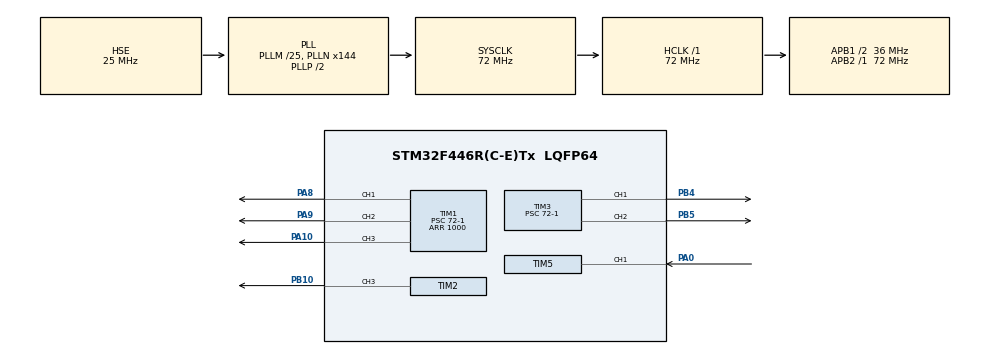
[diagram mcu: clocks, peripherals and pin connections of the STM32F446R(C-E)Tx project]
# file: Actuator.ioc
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Mcu.Family=STM32F4
Mcu.Name=STM32F446R(C-E)Tx
Mcu.Package=LQFP64
NVIC.PriorityGroup=NVIC_PRIORITYGROUP_4
NVIC.TIM3_IRQn=true\:0\:0\:false\:false\:true\:true\:true\:true
NVIC.TIM5_IRQn=true\:0\:0\:false\:false\:true\:true\:true\:true
PA0-WKUP.Signal=S_TIM5_CH1
PA10.Signal=S_TIM1_CH3
PA8.Signal=S_TIM1_CH1
PA9.Signal=S_TIM1_CH2
PB10.Signal=S_TIM2_CH3
PB4.Signal=S_TIM3_CH1
PB5.Signal=S_TIM3_CH2
PH0-OSC_IN.Mode=HSE-External-Oscillator
PH0-OSC_IN.Signal=RCC_OSC_IN
PH1-OSC_OUT.Mode=HSE-External-Oscillator
PH1-OSC_OUT.Signal=RCC_OSC_OUT
ProjectManager.HeapSize=0x200
ProjectManager.StackSize=0x400
ProjectManager.TargetToolchain=STM32CubeIDE
RCC.AHBFreq_Value=72000000
RCC.APB1CLKDivider=RCC_HCLK_DIV2
RCC.APB1Freq_Value=36000000
RCC.APB1TimFreq_Value=72000000
RCC.APB2Freq_Value=72000000
RCC.APB2TimFreq_Value=72000000
RCC.CortexFreq_Value=72000000
RCC.HCLKFreq_Value=72000000
RCC.PLLM=25
RCC.PLLN=144
RCC.PLLSourceVirtual=RCC_PLLSOURCE_HSE
RCC.SYSCLKFreq_VALUE=72000000
RCC.SYSCLKSource=RCC_SYSCLKSOURCE_PLLCLK
RCC.USBFreq_Value=72000000
RCC.VCOOutputFreq_Value=144000000
SH.S_TIM1_CH1.0=TIM1_CH1,PWM Generation1 CH1
SH.S_TIM1_CH2.0=TIM1_CH2,PWM Generation2 CH2
SH.S_TIM1_CH3.0=TIM1_CH3,PWM Generation3 CH3
SH.S_TIM2_CH3.0=TIM2_CH3,PWM Generation3 CH3
SH.S_TIM3_CH1.0=TIM3_CH1,PWM Generation1 CH1
SH.S_TIM3_CH2.0=TIM3_CH2,PWM Generation2 CH2
SH.S_TIM5_CH1.0=TIM5_CH1,PWM_Input_1
TIM1.Channel-PWM\ Generation1\ CH1=TIM_CHANNEL_1
TIM1.Channel-PWM\ Generation2\ CH2=TIM_CHANNEL_2
TIM1.Channel-PWM\ Generation3\ CH3=TIM_CHANNEL_3
TIM1.Period=1000
TIM1.Prescaler=72-1
TIM2.Channel-PWM\ Generation3\ CH3=TIM_CHANNEL_3
TIM2.Period=2000
TIM2.Prescaler=72-1
TIM3.Channel-PWM\ Generation1\ CH1=TIM_CHANNEL_1
TIM3.Channel-PWM\ Generation2\ CH2=TIM_CHANNEL_2
TIM3.Prescaler=72-1
VP_TIM1_VS_ClockSourceINT.Mode=Internal
VP_TIM2_VS_ClockSourceINT.Mode=Internal
VP_TIM3_VS_ClockSourceINT.Mode=Internal
VP_TIM5_VS_ClockSourceINT.Mode=Internal
board=custom

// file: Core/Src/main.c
/* USER CODE BEGIN Header */
/**
  ******************************************************************************
  * @file           : main.c
  * @brief          : Main program body
  ******************************************************************************
  * @attention
  *
  * Copyright (c) 2025 STMicroelectronics.
  * All rights reserved.
  *
  * This software is licensed under terms that can be found in the LICENSE file
  * in the root directory of this software component.
  * If no LICENSE file comes with this software, it is provided AS-IS.
  *
  ******************************************************************************
  */
/* USER CODE END Header */
#include "main.h"
#include "tim.h"
#include "gpio.h"

void SystemClock_Config(void);

/* USER CODE BEGIN 0 */
uint32_t frequency, act_pose;
uint32_t capture_value;
void HAL_TIM_IC_CaptureCallback(TIM_HandleTypeDef *htim5) {
	if(htim5 ->Channel == HAL_TIM_ACTIVE_CHANNEL_1) {
		capture_value = HAL_TIM_ReadCapturedValue(htim5, TIM_CHANNEL_1);
		if(capture_value) {
			frequency = SystemCoreClock / (capture_value);
			act_pose = 10000 * HAL_TIM_ReadCapturedValue(htim5, TIM_CHANNEL_2) / capture_value;
		}
	}
}

/* USER CODE END 0 */

int main(void)
{

  /* MCU Configuration--------------------------------------------------------*/

  /* Reset of all peripherals, Initializes the Flash interface and the Systick. */
  HAL_Init();

  /* Configure the system clock */
  SystemClock_Config();

  /* Initialize all configured peripherals */
  MX_GPIO_Init();
  MX_TIM1_Init();
  MX_TIM2_Init();
  MX_TIM3_Init();
  MX_TIM5_Init();
  /* USER CODE BEGIN 2 */
  TIM1->ARR = 1000;
  TIM2->ARR = 1000;
  TIM3->ARR = 1000;

//  PA_8 (D7) 1/1 - Actuator 1a polarity
  HAL_TIM_PWM_Start(&htim1, TIM_CHANNEL_1); // D7
//  PA_9 (D8) 1/2 - Actuator 1a on/off
  HAL_TIM_PWM_Start(&htim1, TIM_CHANNEL_2); // D8

//  PA_10 (D2) 1/3 - Cim

//  PB_4 (D5) 3/1 - Actuator 1b polarity
  HAL_TIM_PWM_Start(&htim3, TIM_CHANNEL_1);
//  PB_5 (D4) 3/2 - Actuator 1b on/off
  HAL_TIM_PWM_Start(&htim3, TIM_CHANNEL_2);
//
//  PB_8 (D15) 2/1 - Actuator 2 on/off
//  PB_9 (D14) 2/2 - Actuator 2 polarity
//  PB_10 (D6) 2/3 - Rev Reading
  // Pins
//  HAL_TIM_PWM_Start(&htim1, TIM_CHANNEL_3); // D6
//
//  HAL_TIM_PWM_Start(&htim2, TIM_CHANNEL_1); // D15  Actuator 2 Polarity 1
//  HAL_TIM_PWM_Start(&htim2, TIM_CHANNEL_2); // D14 Actuator 2 Polarity 2
//  HAL_TIM_PWM_Start(&htim2, TIM_CHANNEL_3); // D6 Actuator 2 Relay

  // Duty Cycle (Both pins as high: one polarity, both pins as low: opposite polarity)

  /* USER CODE END 2 */

  /* Infinite loop */
  while (1)
  {

    /* USER CODE BEGIN 3 */
	  //  PA_8 (D7) 1/1 - Actuator 1a polarity
	  __HAL_TIM_SET_COMPARE(&htim1, TIM_CHANNEL_1, 1000); // 100% HIGH // LOW turns relays on, HIGH turns relays off

	  //  PA_9 (D8) 1/2 - Actuator 1a on/off
	  __HAL_TIM_SET_COMPARE(&htim1, TIM_CHANNEL_2, 0);  // 0%% LOW

	  //  PB_4 (D5) 3/1 - Actuator 1b polarity
	  __HAL_TIM_SET_COMPARE(&htim3, TIM_CHANNEL_1, 1000);  // 0%% LOW

	  //  PB_5 (D4) 3/2 - Actuator 1b on/off
	  __HAL_TIM_SET_COMPARE(&htim3, TIM_CHANNEL_2, 0); // 100% HIGH

//	  __HAL_TIM_SET_COMPARE(&htim2, TIM_CHANNEL_2, 0); // 0%% LOW
//
//	  TIM2->CCR1 = 1000;
//	  TIM2->CCR2 = 1000;
//	  TIM2->CCR3 = 1000;
//
//	  __HAL_TIM_SET_COMPARE(&htim1, TIM_CHANNEL_3, 1000); // Relay ON
//	  __HAL_TIM_SET_COMPARE(&htim2, TIM_CHANNEL_3, 0); // Relay OFF

  }
  /* USER CODE END 3 */
}

void SystemClock_Config(void)
{
  RCC_OscInitTypeDef RCC_OscInitStruct = {0};
  RCC_ClkInitTypeDef RCC_ClkInitStruct = {0};

  /** Configure the main internal regulator output voltage
  */
  __HAL_RCC_PWR_CLK_ENABLE();
  __HAL_PWR_VOLTAGESCALING_CONFIG(PWR_REGULATOR_VOLTAGE_SCALE3);

  /** Initializes the RCC Oscillators according to the specified parameters
  * in the RCC_OscInitTypeDef structure.
  */
  RCC_OscInitStruct.OscillatorType = RCC_OSCILLATORTYPE_HSE;
  RCC_OscInitStruct.HSEState = RCC_HSE_ON;
  RCC_OscInitStruct.PLL.PLLState = RCC_PLL_ON;
  RCC_OscInitStruct.PLL.PLLSource = RCC_PLLSOURCE_HSE;
  RCC_OscInitStruct.PLL.PLLM = 25;
  RCC_OscInitStruct.PLL.PLLN = 144;
  RCC_OscInitStruct.PLL.PLLP = RCC_PLLP_DIV2;
  RCC_OscInitStruct.PLL.PLLQ = 2;
  RCC_OscInitStruct.PLL.PLLR = 2;
  if (HAL_RCC_OscConfig(&RCC_OscInitStruct) != HAL_OK)
  {
    Error_Handler();
  }

  /** Initializes the CPU, AHB and APB buses clocks
  */
  RCC_ClkInitStruct.ClockType = RCC_CLOCKTYPE_HCLK|RCC_CLOCKTYPE_SYSCLK
                              |RCC_CLOCKTYPE_PCLK1|RCC_CLOCKTYPE_PCLK2;
  RCC_ClkInitStruct.SYSCLKSource = RCC_SYSCLKSOURCE_PLLCLK;
  RCC_ClkInitStruct.AHBCLKDivider = RCC_SYSCLK_DIV1;
  RCC_ClkInitStruct.APB1CLKDivider = RCC_HCLK_DIV2;
  RCC_ClkInitStruct.APB2CLKDivider = RCC_HCLK_DIV1;

  if (HAL_RCC_ClockConfig(&RCC_ClkInitStruct, FLASH_LATENCY_2) != HAL_OK)
  {
    Error_Handler();
  }
}

void Error_Handler(void)
{
  __disable_irq();
  while (1)
  {
  }
}
